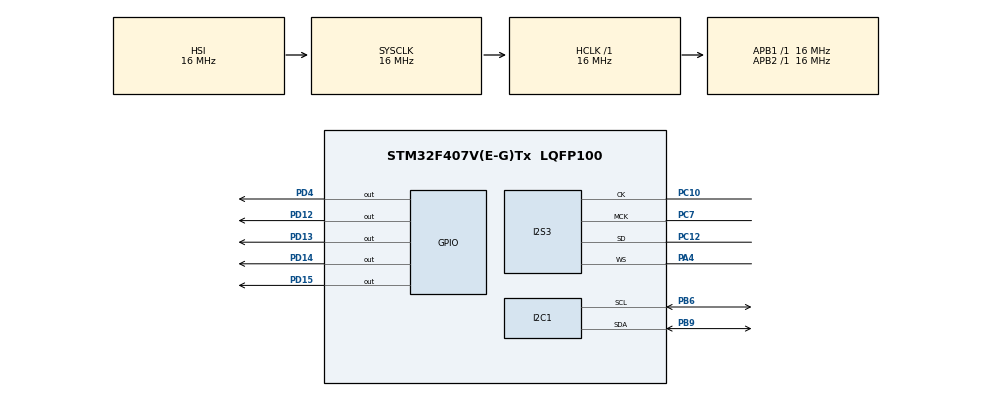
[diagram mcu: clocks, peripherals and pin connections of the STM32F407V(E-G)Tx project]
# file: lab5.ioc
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Dma.Request0=SPI3_TX
Dma.SPI3_TX.0.Direction=DMA_MEMORY_TO_PERIPH
Dma.SPI3_TX.0.FIFOMode=DMA_FIFOMODE_ENABLE
Dma.SPI3_TX.0.FIFOThreshold=DMA_FIFO_THRESHOLD_FULL
Dma.SPI3_TX.0.Instance=DMA1_Stream5
Dma.SPI3_TX.0.MemBurst=DMA_MBURST_SINGLE
Dma.SPI3_TX.0.MemDataAlignment=DMA_MDATAALIGN_HALFWORD
Dma.SPI3_TX.0.MemInc=DMA_MINC_ENABLE
Dma.SPI3_TX.0.Mode=DMA_CIRCULAR
Dma.SPI3_TX.0.PeriphBurst=DMA_PBURST_SINGLE
Dma.SPI3_TX.0.PeriphDataAlignment=DMA_PDATAALIGN_HALFWORD
Dma.SPI3_TX.0.PeriphInc=DMA_PINC_DISABLE
Dma.SPI3_TX.0.Priority=DMA_PRIORITY_LOW
I2S3.AudioFreq=I2S_AUDIOFREQ_48K
I2S3.ErrorAudioFreq=-2.34 %
I2S3.FullDuplexMode=I2S_FULLDUPLEXMODE_DISABLE
I2S3.Instance=SPI$Index
I2S3.RealAudioFreq=46.875 KHz
I2S3.VirtualMode=I2S_MODE_MASTER
Mcu.Family=STM32F4
Mcu.Name=STM32F407V(E-G)Tx
Mcu.Package=LQFP100
NVIC.DMA1_Stream5_IRQn=true\:0\:0\:false\:false\:true\:false\:true\:true
NVIC.PriorityGroup=NVIC_PRIORITYGROUP_4
PA4.Mode=Half_Duplex_Master
PA4.Signal=I2S3_WS
PB6.Mode=I2C
PB6.Signal=I2C1_SCL
PB9.Mode=I2C
PB9.Signal=I2C1_SDA
PC10.Mode=Half_Duplex_Master
PC10.Signal=I2S3_CK
PC12.Mode=Half_Duplex_Master
PC12.Signal=I2S3_SD
PC7.Mode=Master_Clock_Activated
PC7.Signal=I2S3_MCK
PD12.Signal=GPIO_Output
PD13.Signal=GPIO_Output
PD14.Signal=GPIO_Output
PD15.Signal=GPIO_Output
PD4.Signal=GPIO_Output
ProjectManager.HeapSize=0x200
ProjectManager.StackSize=0x400
ProjectManager.TargetToolchain=STM32CubeIDE
RCC.AHBFreq_Value=16000000
RCC.APB1Freq_Value=16000000
RCC.APB2Freq_Value=16000000
RCC.CortexFreq_Value=16000000
RCC.HSE_VALUE=25000000
RCC.HSI_VALUE=16000000
RCC.LSE_VALUE=32768
RCC.SYSCLKFreq_VALUE=16000000
RCC.VCOOutputFreq_Value=192000000
board=custom

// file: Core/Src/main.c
/* USER CODE BEGIN Header */
/**
  ******************************************************************************
  * @file           : main.c
  * @brief          : Main program body
  ******************************************************************************
  * @attention
  *
  * Copyright (c) 2025 STMicroelectronics.
  * All rights reserved.
  *
  * This software is licensed under terms that can be found in the LICENSE file
  * in the root directory of this software component.
  * If no LICENSE file comes with this software, it is provided AS-IS.
  *
  ******************************************************************************
  */
/* USER CODE END Header */
#include "main.h"

/* USER CODE BEGIN PTD */

typedef enum
{
  C4 = 0x00,
  C5, D5, E5, F5, G5, A5, B5,
  C6, D6, E6, F6, G6, A6, B6,
  C7,   MAX_VALUE
} soundToneType;

/* USER CODE END PTD */

/* USER CODE BEGIN PD */

#define CS43L22_I2C_ADDRESS  		 0x94
#define I2C_TIMEOUT   		  		   10

/* USER CODE END PD */

I2C_HandleTypeDef hi2c1;

I2S_HandleTypeDef hi2s3;
DMA_HandleTypeDef hdma_spi3_tx;

/* USER CODE BEGIN PV */

int16_t dataI2S[100] = {0};

/* USER CODE END PV */

void SystemClock_Config(void);
static void MX_GPIO_Init(void);
static void MX_DMA_Init(void);
static void MX_I2C1_Init(void);
static void MX_I2S3_Init(void);

/* USER CODE BEGIN 0 */

void CS43L22_Init(void)
{
  HAL_GPIO_WritePin(GPIOD, GPIO_PIN_4, 1);

  uint8_t buffer[2];

  buffer[0] = 0x0D;
  buffer[1] = 0x01;
  HAL_I2C_Master_Transmit(&hi2c1, CS43L22_I2C_ADDRESS, (uint8_t *) &buffer, 2, I2C_TIMEOUT);

  buffer[0] = 0x00;
  buffer[1] = 0x99;
  HAL_I2C_Master_Transmit(&hi2c1, CS43L22_I2C_ADDRESS, (uint8_t *) &buffer, 2, I2C_TIMEOUT);

  buffer[0] = 0x47;
  buffer[1] = 0x80;
  HAL_I2C_Master_Transmit(&hi2c1, CS43L22_I2C_ADDRESS, (uint8_t *) &buffer, 2, I2C_TIMEOUT);

  buffer[0] = 0x32;
  buffer[1] = 0xFF;
  HAL_I2C_Master_Transmit(&hi2c1, CS43L22_I2C_ADDRESS, (uint8_t *) &buffer, 2, I2C_TIMEOUT);

  buffer[0] = 0x32;
  buffer[1] = 0x7F;
  HAL_I2C_Master_Transmit(&hi2c1, CS43L22_I2C_ADDRESS, (uint8_t *) &buffer, 2, I2C_TIMEOUT);

  buffer[0] = 0x00;
  buffer[1] = 0x00;
  HAL_I2C_Master_Transmit(&hi2c1, CS43L22_I2C_ADDRESS, (uint8_t *) &buffer, 2, I2C_TIMEOUT);

  buffer[0] = 0x04;
  buffer[1] = 0xAF;
  HAL_I2C_Master_Transmit(&hi2c1, CS43L22_I2C_ADDRESS, (uint8_t *) &buffer, 2, I2C_TIMEOUT);

  buffer[0] = 0x0D;
  buffer[1] = 0x70;
  HAL_I2C_Master_Transmit(&hi2c1, CS43L22_I2C_ADDRESS, (uint8_t *) &buffer, 2, I2C_TIMEOUT);

  buffer[0] = 0x05;
  buffer[1] = 0x81;
  HAL_I2C_Master_Transmit(&hi2c1, CS43L22_I2C_ADDRESS, (uint8_t *) &buffer, 2, I2C_TIMEOUT);

  buffer[0] = 0x06;
  buffer[1] = 0x07;
  HAL_I2C_Master_Transmit(&hi2c1, CS43L22_I2C_ADDRESS, (uint8_t *) &buffer, 2, I2C_TIMEOUT);

  buffer[0] = 0x0A;
  buffer[1] = 0x00;
  HAL_I2C_Master_Transmit(&hi2c1, CS43L22_I2C_ADDRESS, (uint8_t *) &buffer, 2, I2C_TIMEOUT);

  buffer[0] = 0x27;
  buffer[1] = 0x00;
  HAL_I2C_Master_Transmit(&hi2c1, CS43L22_I2C_ADDRESS, (uint8_t *) &buffer, 2, I2C_TIMEOUT);

  buffer[0] = 0x1A;
  buffer[1] = 0x0A;
  HAL_I2C_Master_Transmit(&hi2c1, CS43L22_I2C_ADDRESS, (uint8_t *) &buffer, 2, I2C_TIMEOUT);

  buffer[0] = 0x1B;
  buffer[1] = 0x0A;
  HAL_I2C_Master_Transmit(&hi2c1, CS43L22_I2C_ADDRESS, (uint8_t *) &buffer, 2, I2C_TIMEOUT);

  buffer[0] = 0x1F;
  buffer[1] = 0x0F;
  HAL_I2C_Master_Transmit(&hi2c1, CS43L22_I2C_ADDRESS, (uint8_t *) &buffer, 2, I2C_TIMEOUT);

  buffer[0] = 0x02;
  buffer[1] = 0x9E;
  HAL_I2C_Master_Transmit(&hi2c1, CS43L22_I2C_ADDRESS, (uint8_t *) &buffer, 2, I2C_TIMEOUT);

}

void CS43L22_Beep(soundToneType pitch, uint32_t delay)
{
  uint8_t buffer[2];

  buffer[0] = 0x1D;
  buffer[1] = 0xE0;
  HAL_I2C_Master_Transmit(&hi2c1, CS43L22_I2C_ADDRESS, (uint8_t *) &buffer, 2, I2C_TIMEOUT);

  buffer[0] = 0x1C;
  switch (pitch)
  {
    case C4:
      buffer[1] = 0x00;
      break;

    case C5:
      buffer[1] = 0x10;
      break;

    case D5:
      buffer[1] = 0x20;
      break;

    case E5:
      buffer[1] = 0x30;
      break;

    case F5:
      buffer[1] = 0x40;
      break;

    case G5:
      buffer[1] = 0x50;
      break;

    case A5:
      buffer[1] = 0x60;
      break;

    case B5:
      buffer[1] = 0x70;
      break;

    case C6:
      buffer[1] = 0x80;
      break;

    case D6:
      buffer[1] = 0x90;
      break;

    case E6:
      buffer[1] = 0xA0;
      break;

    case F6:
      buffer[1] = 0xB0;
      break;

    case G6:
      buffer[1] = 0xC0;
      break;

    case A6:
      buffer[1] = 0xD0;
      break;

    case B6:
      buffer[1] = 0xE0;
      break;

    case C7:
      buffer[1] = 0xF0;
      break;
    case MAX_VALUE:
    default:
      buffer[1] = 0x00;
      break;

  }
  HAL_I2C_Master_Transmit(&hi2c1, CS43L22_I2C_ADDRESS, (uint8_t *) &buffer, 2, I2C_TIMEOUT);

  buffer[0] = 0x1E;
  buffer[1] = 0xC0;
  HAL_I2C_Master_Transmit(&hi2c1, CS43L22_I2C_ADDRESS, (uint8_t *) &buffer, 2, I2C_TIMEOUT);

  HAL_Delay(delay);

  buffer[0] = 0x1E;
  buffer[1] = 0x00;
  HAL_I2C_Master_Transmit(&hi2c1, CS43L22_I2C_ADDRESS, (uint8_t *) &buffer, 2, I2C_TIMEOUT);
}

/* USER CODE END 0 */

int main(void)
{

  /* MCU Configuration--------------------------------------------------------*/

  /* Reset of all peripherals, Initializes the Flash interface and the Systick. */
  HAL_Init();

  /* Configure the system clock */
  SystemClock_Config();

  /* Initialize all configured peripherals */
  MX_GPIO_Init();
  MX_DMA_Init();
  MX_I2C1_Init();
  MX_I2S3_Init();
  /* USER CODE BEGIN 2 */

  CS43L22_Init();

  HAL_I2S_Transmit_DMA(&hi2s3, (uint16_t *) dataI2S, 100);

  /* USER CODE END 2 */

  /* Infinite loop */
  /* USER CODE BEGIN WHILE */
  while (1)
  {
	  for (int i = 0;i  < 3; i++)
	  	  {
	  		  HAL_GPIO_TogglePin(GPIOD, GPIO_PIN_12);
	  		  HAL_GPIO_TogglePin(GPIOD, GPIO_PIN_14);
	  		  CS43L22_Beep(A5, 300);
	  		  HAL_Delay(20);
	  		  HAL_GPIO_TogglePin(GPIOD, GPIO_PIN_12);
	  		  HAL_GPIO_TogglePin(GPIOD, GPIO_PIN_14);

	  		  HAL_GPIO_TogglePin(GPIOD, GPIO_PIN_13);
	  		  HAL_GPIO_TogglePin(GPIOD, GPIO_PIN_15);
	  		  CS43L22_Beep(B5, 300);
	  		  HAL_Delay(20);
	  		  HAL_GPIO_TogglePin(GPIOD, GPIO_PIN_13);
	  		  HAL_GPIO_TogglePin(GPIOD, GPIO_PIN_15);

	  		  HAL_GPIO_TogglePin(GPIOD, GPIO_PIN_15);
	  		  CS43L22_Beep(A6, 300);
	  		  HAL_Delay(20);
	  		  HAL_GPIO_TogglePin(GPIOD, GPIO_PIN_15);

	  		  HAL_GPIO_TogglePin(GPIOD, GPIO_PIN_14);
	  		  CS43L22_Beep(B6, 300);
	  		  HAL_Delay(20);
	  		  HAL_GPIO_TogglePin(GPIOD, GPIO_PIN_14);

	  		  HAL_GPIO_TogglePin(GPIOD, GPIO_PIN_13);
	  		  CS43L22_Beep(C6, 300);
	  		  HAL_Delay(20);
	  		  HAL_GPIO_TogglePin(GPIOD, GPIO_PIN_13);

	  		  HAL_GPIO_TogglePin(GPIOD, GPIO_PIN_12);
	  		  CS43L22_Beep(D6, 300);
	  		  HAL_Delay(20);
	  		  HAL_GPIO_TogglePin(GPIOD, GPIO_PIN_12);

	  	  }

	  	  while (1){

	  	  }
    /* USER CODE END WHILE */

  }
}

void SystemClock_Config(void)
{
  RCC_OscInitTypeDef RCC_OscInitStruct = {0};
  RCC_ClkInitTypeDef RCC_ClkInitStruct = {0};

  /** Macro to configure the PLL multiplication factor
  */
  __HAL_RCC_PLL_PLLM_CONFIG(16);

  /** Macro to configure the PLL clock source
  */
  __HAL_RCC_PLL_PLLSOURCE_CONFIG(RCC_PLLSOURCE_HSI);

  /** Configure the main internal regulator output voltage
  */
  __HAL_RCC_PWR_CLK_ENABLE();
  __HAL_PWR_VOLTAGESCALING_CONFIG(PWR_REGULATOR_VOLTAGE_SCALE1);

  /** Initializes the RCC Oscillators according to the specified parameters
  * in the RCC_OscInitTypeDef structure.
  */
  RCC_OscInitStruct.OscillatorType = RCC_OSCILLATORTYPE_HSI;
  RCC_OscInitStruct.HSIState = RCC_HSI_ON;
  RCC_OscInitStruct.HSICalibrationValue = RCC_HSICALIBRATION_DEFAULT;
  RCC_OscInitStruct.PLL.PLLState = RCC_PLL_NONE;
  RCC_OscInitStruct.PLL.PLLSource = RCC_PLLSOURCE_HSI;
  if (HAL_RCC_OscConfig(&RCC_OscInitStruct) != HAL_OK)
  {
    Error_Handler();
  }

  /** Initializes the CPU, AHB and APB buses clocks
  */
  RCC_ClkInitStruct.ClockType = RCC_CLOCKTYPE_HCLK|RCC_CLOCKTYPE_SYSCLK
                              |RCC_CLOCKTYPE_PCLK1|RCC_CLOCKTYPE_PCLK2;
  RCC_ClkInitStruct.SYSCLKSource = RCC_SYSCLKSOURCE_HSI;
  RCC_ClkInitStruct.AHBCLKDivider = RCC_SYSCLK_DIV1;
  RCC_ClkInitStruct.APB1CLKDivider = RCC_HCLK_DIV1;
  RCC_ClkInitStruct.APB2CLKDivider = RCC_HCLK_DIV1;

  if (HAL_RCC_ClockConfig(&RCC_ClkInitStruct, FLASH_LATENCY_0) != HAL_OK)
  {
    Error_Handler();
  }
}

static void MX_I2C1_Init(void)
{

  hi2c1.Instance = I2C1;
  hi2c1.Init.ClockSpeed = 100000;
  hi2c1.Init.DutyCycle = I2C_DUTYCYCLE_2;
  hi2c1.Init.OwnAddress1 = 0;
  hi2c1.Init.AddressingMode = I2C_ADDRESSINGMODE_7BIT;
  hi2c1.Init.DualAddressMode = I2C_DUALADDRESS_DISABLE;
  hi2c1.Init.OwnAddress2 = 0;
  hi2c1.Init.GeneralCallMode = I2C_GENERALCALL_DISABLE;
  hi2c1.Init.NoStretchMode = I2C_NOSTRETCH_DISABLE;
  if (HAL_I2C_Init(&hi2c1) != HAL_OK)
  {
    Error_Handler();
  }

}

static void MX_I2S3_Init(void)
{

  hi2s3.Instance = SPI3;
  hi2s3.Init.Mode = I2S_MODE_MASTER_TX;
  hi2s3.Init.Standard = I2S_STANDARD_PHILIPS;
  hi2s3.Init.DataFormat = I2S_DATAFORMAT_16B;
  hi2s3.Init.MCLKOutput = I2S_MCLKOUTPUT_ENABLE;
  hi2s3.Init.AudioFreq = I2S_AUDIOFREQ_48K;
  hi2s3.Init.CPOL = I2S_CPOL_LOW;
  hi2s3.Init.ClockSource = I2S_CLOCK_PLL;
  hi2s3.Init.FullDuplexMode = I2S_FULLDUPLEXMODE_DISABLE;
  if (HAL_I2S_Init(&hi2s3) != HAL_OK)
  {
    Error_Handler();
  }

}

static void MX_DMA_Init(void)
{

  /* DMA controller clock enable */
  __HAL_RCC_DMA1_CLK_ENABLE();

  /* DMA interrupt init */
  /* DMA1_Stream5_IRQn interrupt configuration */
  HAL_NVIC_SetPriority(DMA1_Stream5_IRQn, 0, 0);
  HAL_NVIC_EnableIRQ(DMA1_Stream5_IRQn);

}

static void MX_GPIO_Init(void)
{
  GPIO_InitTypeDef GPIO_InitStruct = {0};

  /* GPIO Ports Clock Enable */
  __HAL_RCC_GPIOA_CLK_ENABLE();
  __HAL_RCC_GPIOD_CLK_ENABLE();
  __HAL_RCC_GPIOC_CLK_ENABLE();
  __HAL_RCC_GPIOB_CLK_ENABLE();

  /*Configure GPIO pin Output Level */
  HAL_GPIO_WritePin(GPIOD, GPIO_PIN_12|GPIO_PIN_13|GPIO_PIN_14|GPIO_PIN_15
                          |GPIO_PIN_4, GPIO_PIN_RESET);

  /*Configure GPIO pins : PD12 PD13 PD14 PD15
                           PD4 */
  GPIO_InitStruct.Pin = GPIO_PIN_12|GPIO_PIN_13|GPIO_PIN_14|GPIO_PIN_15
                          |GPIO_PIN_4;
  GPIO_InitStruct.Mode = GPIO_MODE_OUTPUT_PP;
  GPIO_InitStruct.Pull = GPIO_NOPULL;
  GPIO_InitStruct.Speed = GPIO_SPEED_FREQ_LOW;
  HAL_GPIO_Init(GPIOD, &GPIO_InitStruct);

}

void Error_Handler(void)
{
  __disable_irq();
  while (1)
  {
  }
}
